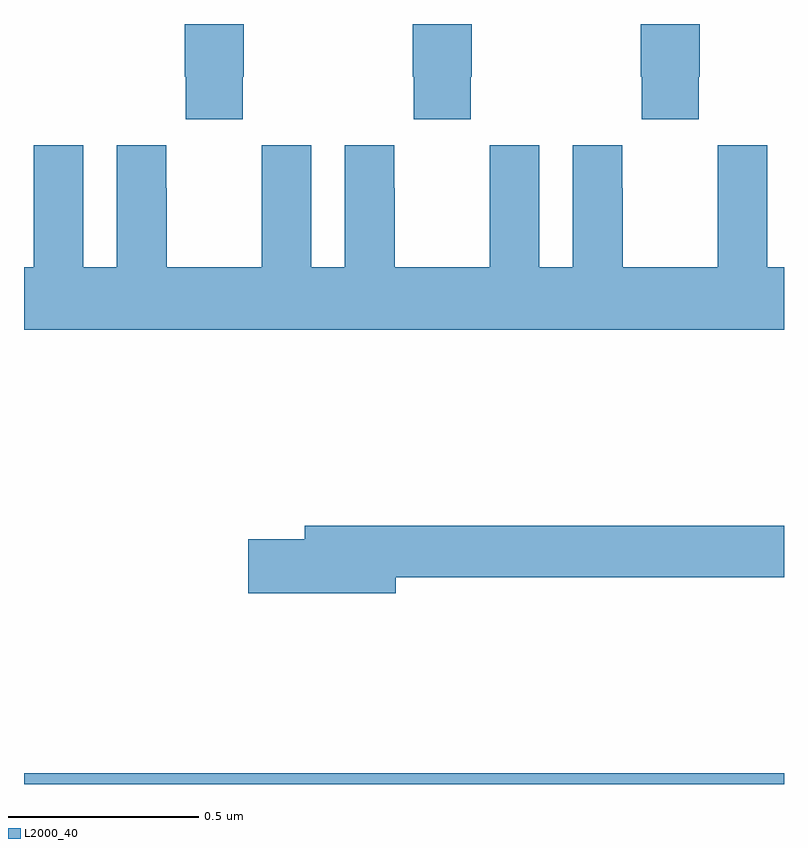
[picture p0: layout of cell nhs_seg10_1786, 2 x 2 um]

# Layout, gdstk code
import gdstk
lib = gdstk.Library(unit=1e-6, precision=1e-09)
def R(c, l, rs):  # rectangles x0, y0, x1, y1
    for r in rs: c.add(gdstk.rectangle(r[:2], r[2:], *l))
def P(c, l, *ps):  # polygons
    for p in ps: c.add(gdstk.Polygon(p, *l))
L2000_40 = (2000, 40)

nhs_seg10_1786 = lib.new_cell('nhs_seg10_1786')
R(nhs_seg10_1786, L2000_40, [(133,1252.5,135,1252.528)])
P(nhs_seg10_1786, L2000_40, [(133.575,1254.361),(133.578,1254.361),(133.578,1254.5),(133.423,1254.5),(133.423,1254.361),(133.425,1254.361),(133.425,1254.249),(133.575,1254.249)],
  [(134.175,1254.361),(134.178,1254.361),(134.178,1254.5),(134.023,1254.5),(134.023,1254.361),(134.025,1254.361),(134.025,1254.249),(134.175,1254.249)],
  [(134.775,1254.361),(134.778,1254.361),(134.778,1254.5),(134.623,1254.5),(134.623,1254.361),(134.625,1254.361),(134.625,1254.249),(134.775,1254.249)],
  [(135,1253.86),(134.956,1253.86),(134.956,1254.181),(134.826,1254.181),(134.826,1254.068),(134.825,1254.068),(134.825,1253.86),(134.575,1253.86),(134.575,1254.068),(134.574,1254.068),(134.574,1254.181),(134.444,1254.181),(134.444,1253.86),(134.356,1253.86),(134.356,1254.181),(134.226,1254.181),(134.226,1254.068),(134.225,1254.068),(134.225,1253.86),(133.975,1253.86),(133.975,1254.068),(133.974,1254.068),(133.974,1254.181),(133.844,1254.181),(133.844,1253.86),(133.756,1253.86),(133.756,1254.181),(133.626,1254.181),(133.626,1254.068),(133.625,1254.068),(133.625,1253.86),(133.375,1253.86),(133.375,1254.068),(133.374,1254.068),(133.374,1254.181),(133.244,1254.181),(133.244,1253.86),(133.156,1253.86),(133.156,1254.181),(133.026,1254.181),(133.026,1254.068),(133.025,1254.068),(133.025,1253.86),(133,1253.86),(133,1253.696),(135,1253.696)],
  [(133.978,1253.044),(135,1253.044),(135,1253.18),(133.739,1253.18),(133.739,1253.144),(133.59,1253.144),(133.59,1253.002),(133.978,1253.002)])

lib.write_gds('nhs_seg10_1786.gds')
